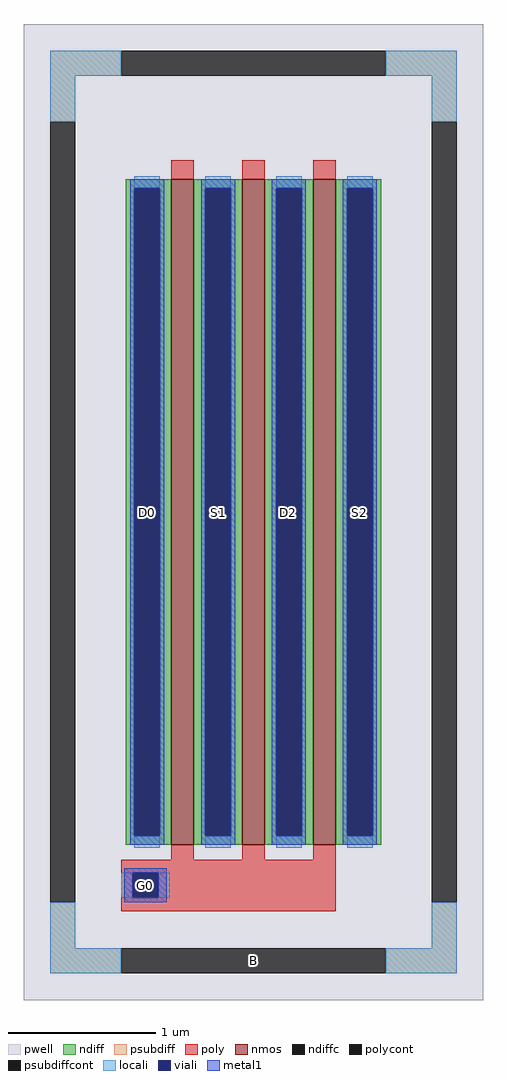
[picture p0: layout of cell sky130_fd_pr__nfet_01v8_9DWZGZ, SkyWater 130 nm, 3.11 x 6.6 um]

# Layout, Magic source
magic
tech sky130A
magscale 1 2
<< pwell >>
rect -311 -660 311 660
<< nmos >>
rect -111 -450 -81 450
rect -15 -450 15 450
rect 81 -450 111 450
<< ndiff >>
rect -173 438 -111 450
rect -173 -438 -161 438
rect -127 -438 -111 438
rect -173 -450 -111 -438
rect -81 438 -15 450
rect -81 -438 -65 438
rect -31 -438 -15 438
rect -81 -450 -15 -438
rect 15 438 81 450
rect 15 -438 31 438
rect 65 -438 81 438
rect 15 -450 81 -438
rect 111 438 173 450
rect 111 -438 127 438
rect 161 -438 173 438
rect 111 -450 173 -438
<< ndiffc >>
rect -161 -438 -127 438
rect -65 -438 -31 438
rect 31 -438 65 438
rect 127 -438 161 438
<< psubdiff >>
rect -275 590 -179 624
rect 179 590 275 624
rect -275 528 -241 590
rect 241 528 275 590
rect -275 -590 -241 -528
rect 241 -590 275 -528
rect -275 -624 -179 -590
rect 179 -624 275 -590
<< psubdiffcont >>
rect -179 590 179 624
rect -275 -528 -241 528
rect 241 -528 275 528
rect -179 -624 179 -590
<< poly >>
rect -111 450 -81 476
rect -15 450 15 476
rect 81 450 111 476
rect -111 -470 -81 -450
rect -15 -470 15 -450
rect 81 -470 111 -450
rect -179 -488 111 -470
rect -179 -522 -163 -488
rect -129 -522 111 -488
rect -179 -540 111 -522
<< polycont >>
rect -163 -522 -129 -488
<< locali >>
rect -275 590 -179 624
rect 179 590 275 624
rect -275 528 -241 590
rect 241 528 275 590
rect -161 438 -127 454
rect -161 -454 -127 -438
rect -65 438 -31 454
rect -65 -454 -31 -438
rect 31 438 65 454
rect 31 -454 65 -438
rect 127 438 161 454
rect 127 -454 161 -438
rect -179 -522 -163 -488
rect -129 -522 -113 -488
rect -275 -590 -241 -528
rect 241 -590 275 -528
rect -275 -624 -179 -590
rect 179 -624 275 -590
<< viali >>
rect -161 -438 -127 438
rect -65 -438 -31 438
rect 31 -438 65 438
rect 127 -438 161 438
rect -163 -522 -129 -488
<< metal1 >>
rect -167 438 -121 450
rect -167 -438 -161 438
rect -127 -438 -121 438
rect -167 -450 -121 -438
rect -71 438 -25 450
rect -71 -438 -65 438
rect -31 -438 -25 438
rect -71 -450 -25 -438
rect 25 438 71 450
rect 25 -438 31 438
rect 65 -438 71 438
rect 25 -450 71 -438
rect 121 438 167 450
rect 121 -438 127 438
rect 161 -438 167 438
rect 121 -450 167 -438
rect -175 -488 -117 -482
rect -175 -522 -163 -488
rect -129 -522 -117 -488
rect -175 -528 -117 -522
<< labels >>
rlabel psubdiffcont 0 -607 0 -607 0 B
port 1 nsew
rlabel ndiffc -144 0 -144 0 0 D0
port 2 nsew
rlabel ndiffc -48 0 -48 0 0 S1
port 4 nsew
rlabel ndiffc 48 0 48 0 0 D2
port 6 nsew
rlabel ndiffc 144 0 144 0 0 S2
port 7 nsew
rlabel polycont -146 -505 -146 -505 0 G0
port 3 nsew
<< properties >>
string FIXED_BBOX -258 -607 258 607
string gencell sky130_fd_pr__nfet_01v8
string library sky130
string parameters w 4.5 l 0.15 m 1 nf 3 diffcov 100 polycov 100 guard 1 glc 1 grc 1 gtc 1 gbc 1 tbcov 100 rlcov 100 topc 1 botc 1 poverlap 0 doverlap 1 lmin 0.15 wmin 0.42 class mosfet compatible {sky130_fd_pr__nfet_01v8 sky130_fd_pr__nfet_01v8_lvt  sky130_fd_bs_flash__special_sonosfet_star  sky130_fd_pr__nfet_g5v0d10v5 sky130_fd_pr__nfet_05v0_nvt  sky130_fd_pr__nfet_03v3_nvt} full_metal 1 conn_gates 0 viasrc 100 viadrn 100 viagate 100 viagb 0 viagr 0 viagl 0 viagt 0 doports 1
<< end >>
